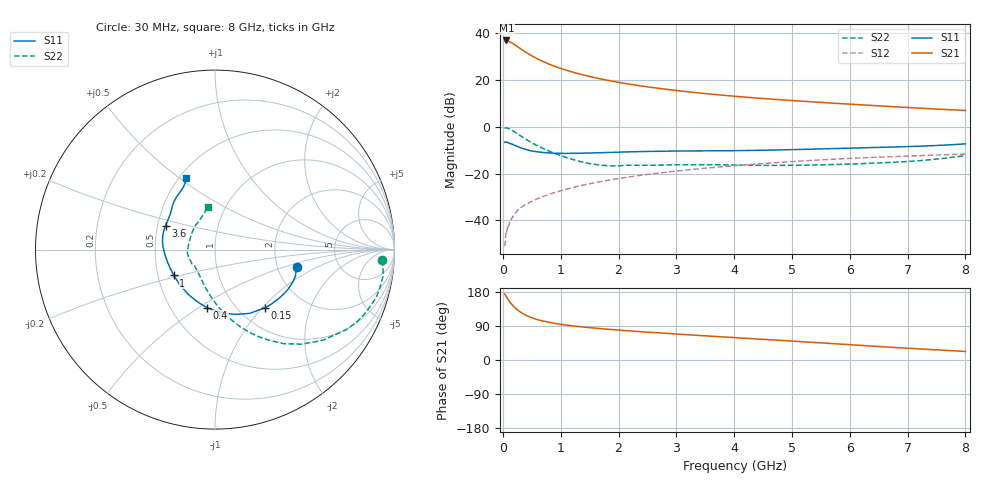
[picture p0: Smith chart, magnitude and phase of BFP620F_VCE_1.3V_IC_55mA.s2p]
! Infineon Technologies  Discrete & RF Semiconductors
! BFP620F
! VCE =  1.3 V,  IC =  55 mA
! Common Emitter S-Parameters:  Dec 2014
# GHz  S  MA  R  50
!  f  S11  S21  S12  S22
! GHz  MAG  ANG  MAG  ANG  MAG  ANG  MAG  ANG
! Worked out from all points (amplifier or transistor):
!   95 points, 30 MHz to 8 GHz, reference 50 ohm
!   highest |S21| = 36.9 dB at 60 MHz (marker M1)
!   |S21| within 3 dB of that: start of sweep to 272.9 MHz
!   unconditionally stable (mu >= 1): 1.813 GHz to end of sweep
!   at 300 MHz: K = 0.52, MSG = 34.1 dB, |S12| = -34.8 dB
!   at 3.3 GHz: K = 1.03, MAG = 15.4 dB, |S12| = -18.2 dB
!   at 8 GHz: K = 1.05, MAG = 7.9 dB, |S12| = -11.7 dB
!   S11 on the Smith chart (normalised r, x): 30 MHz: 2.58, -0.64; 150 MHz: 1.31, -1.04; 400 MHz: 0.75, -0.54; 1 GHz: 0.60, -0.19; 3.6 GHz: 0.55, +0.16; 8 GHz: 0.54, +0.53
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0.03  0.4683 -12.0  68.29 174.2  0.0028 96.8  0.9349 -3.6
0.06  0.4701 -21.7  70.06 166.9  0.005 94.8  0.9451 -11.1
0.08  0.4631 -28.4  69.3 162.0  0.0071 85.1  0.9368 -16.4
0.11  0.4469 -38.0  66.25 155.2  0.0083 80.1  0.9072 -23.2
0.15  0.4279 -49.2  62.51 147.6  0.0109 75.3  0.8557 -31.5
0.2  0.4042 -61.6  57.05 139.3  0.0133 74.2  0.7831 -40.3
0.25  0.3791 -72.2  51.86 132.4  0.0162 70.4  0.7127 -47.7
0.3  0.3584 -81.6  47.06 126.7  0.0183 69.3  0.6475 -54.0
0.35  0.3406 -90.2  42.69 122.0  0.0202 68.0  0.5881 -59.2
0.4  0.3268 -97.7  38.99 117.9  0.0221 67.5  0.5376 -63.9
0.5  0.3042 -110.0  32.89 111.5  0.0256 67.5  0.4556 -71.6
0.6  0.2911 -120.5  28.26 106.5  0.0291 67.4  0.3911 -78.1
0.8  0.2763 -136.3  21.85 99.4  0.0357 67.8  0.3017 -89.0
1  0.2712 -148.0  17.71 94.2  0.0429 67.7  0.2424 -98.6
1.4  0.2735 -164.4  12.75 86.9  0.057 67.1  0.1737 -118.2
1.9  0.2839 -178.2  9.402 80.2  0.0746 65.5  0.1454 -142.4
2.7  0.2994 166.8  6.626 71.5  0.1024 61.2  0.1512 -162.9
3.6  0.306 154.0  4.988 62.8  0.1335 55.7  0.1543 -175.3
4.1  0.3098 147.9  4.397 58.2  0.1503 52.3  0.1515 177.9
5.4  0.3338 136.0  3.381 46.1  0.1926 42.8  0.1525 154.0
6.7  0.3678 124.1  2.712 33.8  0.2289 32.7  0.173 128.2
8  0.4309 111.8  2.229 22.5  0.2603 23.0  0.2428 99.6
